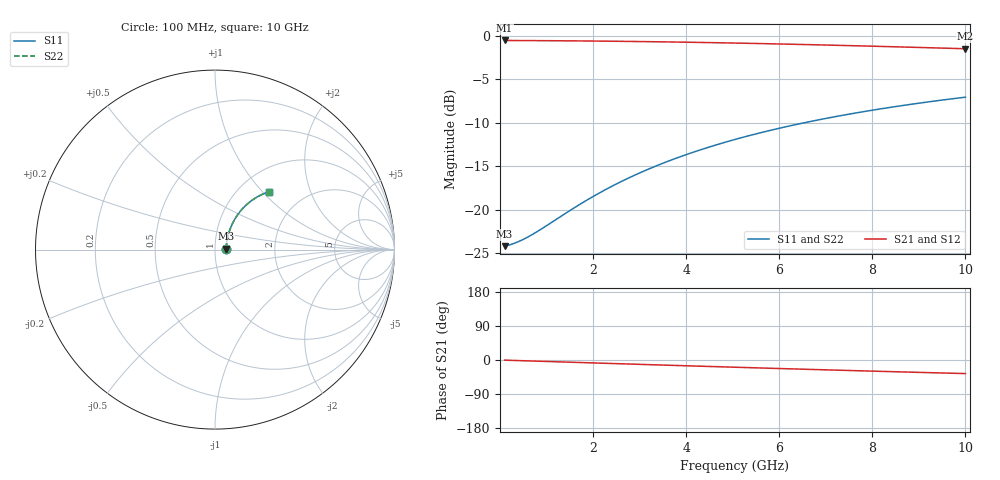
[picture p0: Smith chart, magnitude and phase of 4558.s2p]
# Hz S RI R 50.00
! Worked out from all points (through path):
!   100 points, 100 MHz to 10 GHz, reference 50 ohm
!   highest |S21| = -0.55 dB at 100 MHz (marker M1); lowest = -1.5 dB at 10 GHz (marker M2)
!   group delay of S21, straight-line fit = 9.99 ps
!   lowest |S11| = -24.2 dB at 100 MHz (marker M3), VSWR 1.13, Z = 56.6 + j0.529 ohm
!   |S11| at or under -10 dB: start of sweep to 6.546 GHz
!   |S22| runs from -24.2 to -7.1 dB; largest |S21 - S12| = 0
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1e8  0.0616 0.00466  0.9384 -0.00633  0.9384 -0.00633  0.0616 0.00466
3e8  0.0625 0.014  0.9375 -0.019  0.9375 -0.019  0.0625 0.014
4e8  0.063 0.0186  0.937 -0.0253  0.937 -0.0253  0.063 0.0186
6e8  0.0639 0.0278  0.936 -0.0379  0.936 -0.0379  0.0639 0.0278
9e8  0.0658 0.0416  0.9341 -0.0567  0.9341 -0.0567  0.0658 0.0416
1.5e9  0.0708 0.0689  0.9288 -0.094  0.9288 -0.094  0.0708 0.0689
1.8e9  0.0741 0.0823  0.9254 -0.1124  0.9254 -0.1124  0.0741 0.0823
2.2e9  0.0793 0.0999  0.92 -0.1367  0.92 -0.1367  0.0793 0.0999
2.6e9  0.0853 0.1172  0.9137 -0.1606  0.9137 -0.1606  0.0853 0.1172
3e9  0.0922 0.134  0.9065 -0.1841  0.9065 -0.1841  0.0922 0.134
3.4e9  0.0999 0.1503  0.8984 -0.2072  0.8984 -0.2072  0.0999 0.1503
3.8e9  0.1084 0.1661  0.8895 -0.2297  0.8895 -0.2297  0.1084 0.1661
4.2e9  0.1176 0.1813  0.8798 -0.2516  0.8798 -0.2516  0.1176 0.1813
4.6e9  0.1275 0.1959  0.8694 -0.273  0.8694 -0.273  0.1275 0.1959
5.1e9  0.1408 0.2132  0.8554 -0.2987  0.8554 -0.2987  0.1408 0.2132
5.5e9  0.1521 0.2263  0.8435 -0.3186  0.8435 -0.3186  0.1521 0.2263
5.9e9  0.1639 0.2387  0.831 -0.3377  0.831 -0.3377  0.1639 0.2387
6.7e9  0.1889 0.2614  0.8045 -0.3739  0.8045 -0.3739  0.1889 0.2614
7.5e9  0.2154 0.281  0.7763 -0.4071  0.7763 -0.4071  0.2154 0.281
8.4e9  0.2464 0.2995  0.7432 -0.441  0.7432 -0.441  0.2464 0.2995
9.2e9  0.2747 0.3127  0.7127 -0.468  0.7127 -0.468  0.2747 0.3127
1e10  0.3033 0.3231  0.6818 -0.4921  0.6818 -0.4921  0.3033 0.3231
